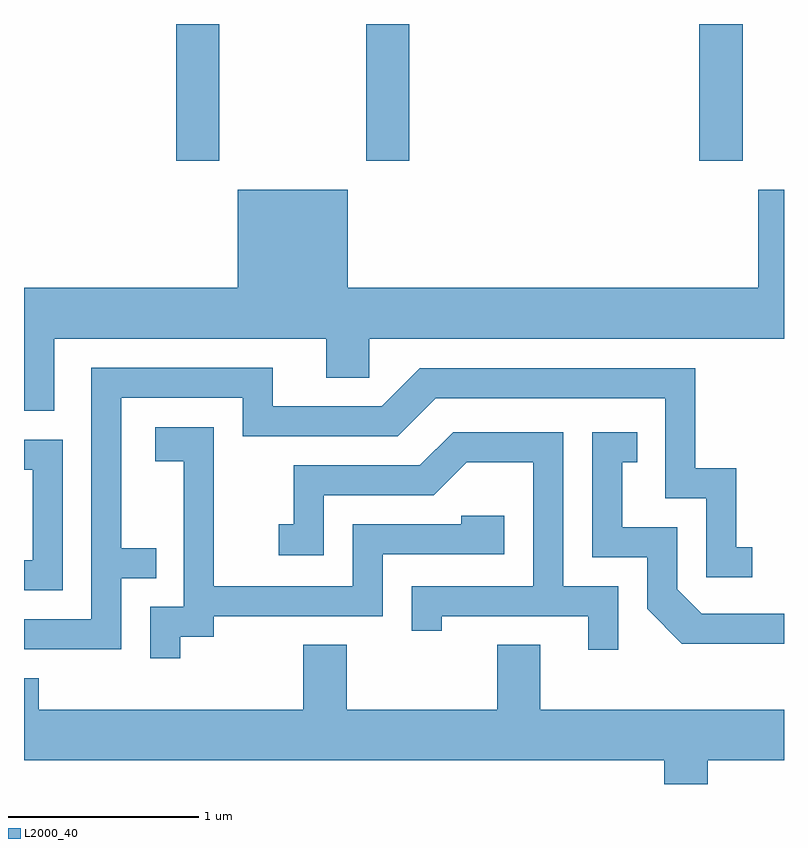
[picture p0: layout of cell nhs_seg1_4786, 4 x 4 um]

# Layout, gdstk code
import gdstk
lib = gdstk.Library(unit=1e-6, precision=1e-09)
def R(c, l, rs):  # rectangles x0, y0, x1, y1
    for r in rs: c.add(gdstk.rectangle(r[:2], r[2:], *l))
def P(c, l, *ps):  # polygons
    for p in ps: c.add(gdstk.Polygon(p, *l))
L2000_40 = (2000, 40)

nhs_seg1_4786 = lib.new_cell('nhs_seg1_4786')
R(nhs_seg1_4786, L2000_40, [(330.411,864.991,330.639,865.712), (331.411,864.991,331.639,865.712), (333.166,864.991,333.394,865.712)])
P(nhs_seg1_4786, L2000_40, [(329.769,864.056),(331.201,864.056),(331.201,863.851),(331.429,863.851),(331.429,864.056),(333.611,864.056),(333.611,864.839),(333.476,864.839),(333.476,864.324),(331.314,864.324),(331.314,864.839),(330.736,864.839),(330.736,864.324),(329.611,864.324),(329.611,863.676),(329.769,863.676)],
  [(330.124,862.796),(330.308,862.796),(330.308,862.954),(330.124,862.954),(330.124,863.746),(330.761,863.746),(330.761,863.541),(331.577,863.541),(331.777,863.741),(332.986,863.741),(332.986,863.216),(333.201,863.216),(333.201,862.801),(333.443,862.801),(333.443,862.959),(333.359,862.959),(333.359,863.374),(333.144,863.374),(333.144,863.899),(331.694,863.899),(331.494,863.699),(330.919,863.699),(330.919,863.904),(329.966,863.904),(329.966,862.579),(329.611,862.579),(329.611,862.421),(330.124,862.421)],
  [(330.434,862.486),(330.609,862.486),(330.609,862.596),(331.499,862.596),(331.499,862.921),(332.139,862.921),(332.139,863.124),(331.911,863.124),(331.911,863.079),(331.341,863.079),(331.341,862.754),(330.609,862.754),(330.609,863.589),(330.301,863.589),(330.301,863.411),(330.451,863.411),(330.451,862.644),(330.276,862.644),(330.276,862.373),(330.434,862.373)],
  [(332.739,862.754),(332.449,862.754),(332.449,863.564),(331.869,863.564),(331.694,863.389),(331.031,863.389),(331.031,863.079),(330.953,863.079),(330.953,862.916),(331.189,862.916),(331.189,863.231),(331.767,863.231),(331.942,863.406),(332.291,863.406),(332.291,862.754),(331.651,862.754),(331.651,862.518),(331.809,862.518),(331.809,862.596),(332.581,862.596),(332.581,862.418),(332.739,862.418)],
  [(333.611,862.609),(333.177,862.609),(333.049,862.737),(333.049,863.064),(332.759,863.064),(332.759,863.406),(332.838,863.406),(332.838,863.564),(332.601,863.564),(332.601,862.906),(332.891,862.906),(332.891,862.634),(333.074,862.451),(333.611,862.451)],
  [(329.814,863.524),(329.611,863.524),(329.611,863.366),(329.656,863.366),(329.656,862.889),(329.611,862.889),(329.611,862.731),(329.814,862.731)],
  [(333.209,861.836),(333.611,861.836),(333.611,862.104),(332.329,862.104),(332.329,862.444),(332.101,862.444),(332.101,862.104),(331.309,862.104),(331.309,862.444),(331.081,862.444),(331.081,862.104),(329.689,862.104),(329.689,862.269),(329.611,862.269),(329.611,861.836),(332.981,861.836),(332.981,861.712),(333.209,861.712)])

lib.write_gds('nhs_seg1_4786.gds')
